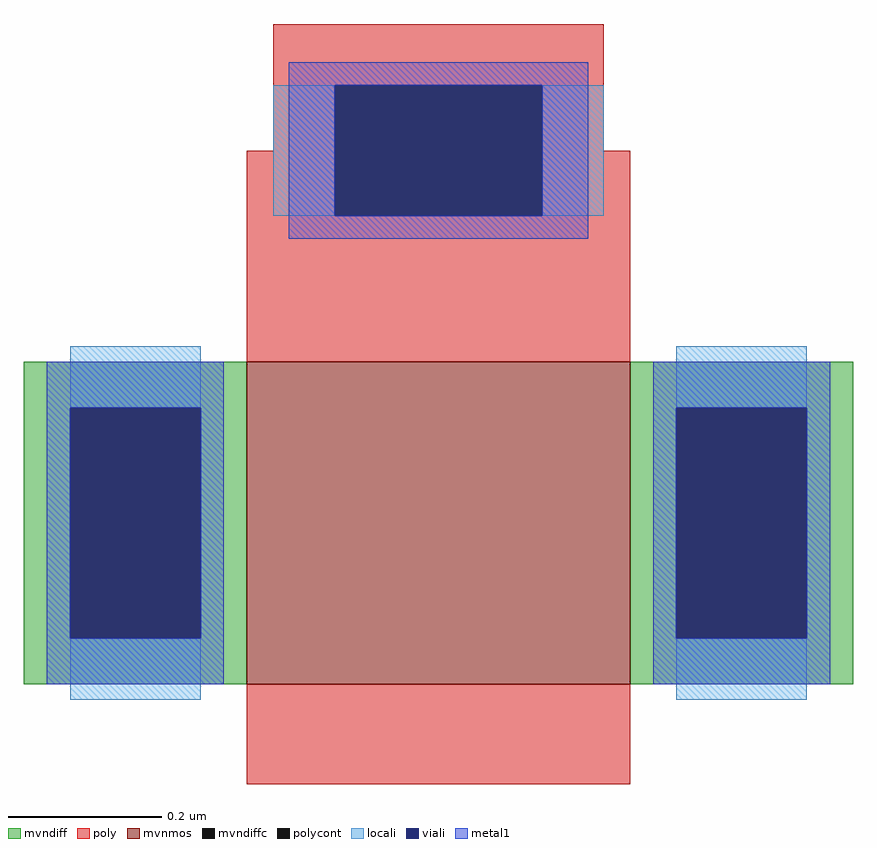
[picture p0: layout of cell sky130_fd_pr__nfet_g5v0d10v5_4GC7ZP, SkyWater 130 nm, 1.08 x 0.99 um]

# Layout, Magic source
magic
tech sky130A
magscale 1 2
<< mvnmos >>
rect -50 -73 50 11
<< mvndiff >>
rect -108 -1 -50 11
rect -108 -61 -96 -1
rect -62 -61 -50 -1
rect -108 -73 -50 -61
rect 50 -1 108 11
rect 50 -61 62 -1
rect 96 -61 108 -1
rect 50 -73 108 -61
<< mvndiffc >>
rect -96 -61 -62 -1
rect 62 -61 96 -1
<< poly >>
rect -43 83 43 99
rect -43 66 -27 83
rect -50 49 -27 66
rect 27 66 43 83
rect 27 49 50 66
rect -50 11 50 49
rect -50 -99 50 -73
<< polycont >>
rect -27 49 27 83
<< locali >>
rect -43 49 -27 83
rect 27 49 43 83
rect -96 -1 -62 15
rect -96 -77 -62 -61
rect 62 -1 96 15
rect 62 -77 96 -61
<< viali >>
rect -27 49 27 83
rect -96 -61 -62 -1
rect 62 -61 96 -1
<< metal1 >>
rect -39 83 39 89
rect -39 49 -27 83
rect 27 49 39 83
rect -39 43 39 49
rect -102 -1 -56 11
rect -102 -61 -96 -1
rect -62 -61 -56 -1
rect -102 -73 -56 -61
rect 56 -1 102 11
rect 56 -61 62 -1
rect 96 -61 102 -1
rect 56 -73 102 -61
<< properties >>
string gencell sky130_fd_pr__nfet_g5v0d10v5
string library sky130
string parameters w 0.420 l 0.50 m 1 nf 1 diffcov 100 polycov 80 guard 0 glc 1 grc 1 gtc 1 gbc 1 tbcov 100 rlcov 100 topc 1 botc 0 poverlap 0 doverlap 1 lmin 0.50 wmin 0.42 class mosfet compatible {sky130_fd_pr__nfet_01v8 sky130_fd_pr__nfet_01v8_lvt  sky130_fd_bs_flash__special_sonosfet_star  sky130_fd_pr__nfet_g5v0d10v5 sky130_fd_pr__nfet_05v0_nvt  sky130_fd_pr__nfet_03v3_nvt} full_metal 1 viasrc 100 viadrn 100 viagate 80 viagb 0 viagr 0 viagl 0 viagt 0
<< end >>
